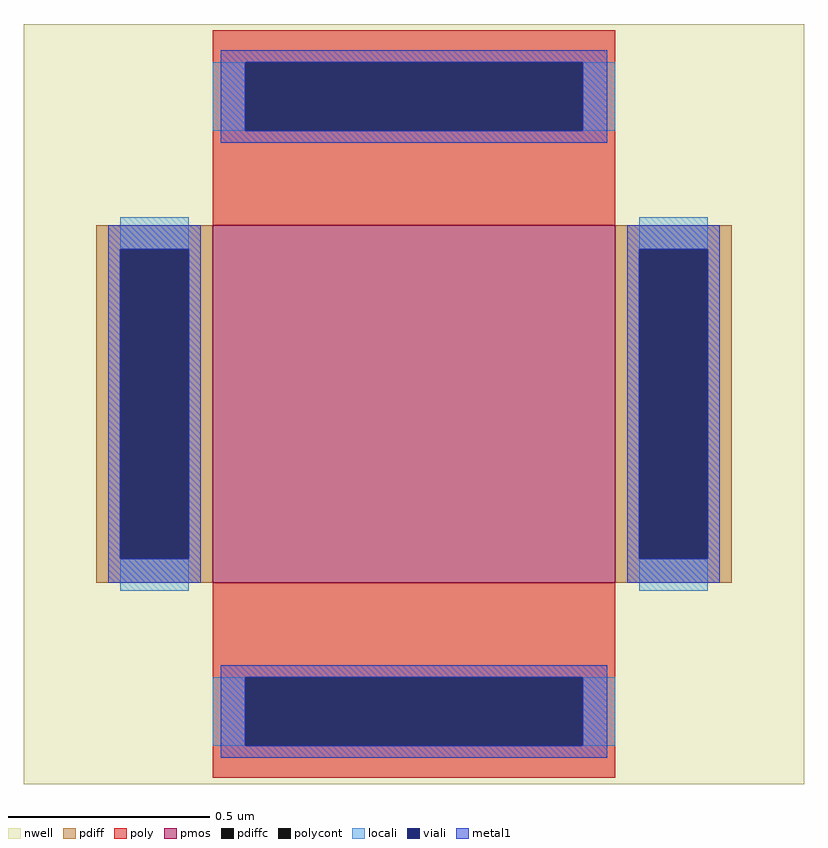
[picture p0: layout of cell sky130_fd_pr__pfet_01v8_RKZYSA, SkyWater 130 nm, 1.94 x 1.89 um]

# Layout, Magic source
magic
tech sky130A
magscale 1 2
<< nwell >>
rect -194 -189 194 189
<< pmos >>
rect -100 -89 100 89
<< pdiff >>
rect -158 77 -100 89
rect -158 -77 -146 77
rect -112 -77 -100 77
rect -158 -89 -100 -77
rect 100 77 158 89
rect 100 -77 112 77
rect 146 -77 158 77
rect 100 -89 158 -77
<< pdiffc >>
rect -146 -77 -112 77
rect 112 -77 146 77
<< poly >>
rect -100 170 100 186
rect -100 136 -84 170
rect 84 136 100 170
rect -100 89 100 136
rect -100 -136 100 -89
rect -100 -170 -84 -136
rect 84 -170 100 -136
rect -100 -186 100 -170
<< polycont >>
rect -84 136 84 170
rect -84 -170 84 -136
<< locali >>
rect -100 136 -84 170
rect 84 136 100 170
rect -146 77 -112 93
rect -146 -93 -112 -77
rect 112 77 146 93
rect 112 -93 146 -77
rect -100 -170 -84 -136
rect 84 -170 100 -136
<< viali >>
rect -84 136 84 170
rect -146 -77 -112 77
rect 112 -77 146 77
rect -84 -170 84 -136
<< metal1 >>
rect -96 170 96 176
rect -96 136 -84 170
rect 84 136 96 170
rect -96 130 96 136
rect -152 77 -106 89
rect -152 -77 -146 77
rect -112 -77 -106 77
rect -152 -89 -106 -77
rect 106 77 152 89
rect 106 -77 112 77
rect 146 -77 152 77
rect 106 -89 152 -77
rect -96 -136 96 -130
rect -96 -170 -84 -136
rect 84 -170 96 -136
rect -96 -176 96 -170
<< properties >>
string gencell sky130_fd_pr__pfet_01v8
string library sky130
string parameters w 0.893 l 1.000 m 1 nf 1 diffcov 100 polycov 100 guard 0 glc 1 grc 1 gtc 1 gbc 1 tbcov 100 rlcov 100 topc 1 botc 1 poverlap 0 doverlap 1 lmin 0.15 wmin 0.42 compatible {sky130_fd_pr__pfet_01v8  sky130_fd_pr__pfet_01v8_lvt sky130_fd_pr__pfet_01v8_hvt  sky130_fd_pr__pfet_g5v0d10v5} full_metal 1 viasrc 100 viadrn 100 viagate 100 viagb 0 viagr 0 viagl 0 viagt 0
<< end >>
